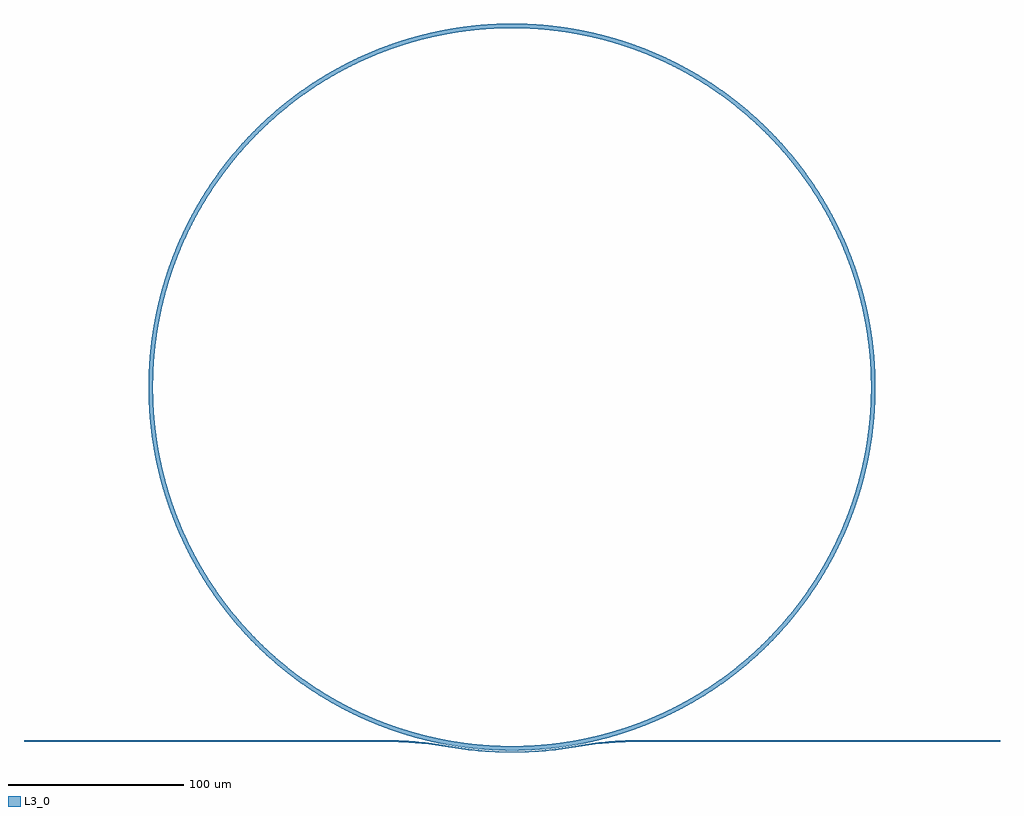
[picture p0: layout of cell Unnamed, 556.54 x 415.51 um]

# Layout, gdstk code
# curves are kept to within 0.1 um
from math import pi, radians
import gdstk
lib = gdstk.Library(unit=1e-6, precision=1e-10)
def P(c, l, *ps):  # polygons
    for p in ps: c.add(gdstk.Polygon(p, *l))
L3_0 = (3, 0)

ring = lib.new_cell('ring')
P(ring, L3_0, [(204.75,0),(204.5991,7.8599),(204.1737,15.3519),(203.474,22.8233),(202.501,30.264),(201.256,37.664),(199.7407,45.0135),(197.9571,52.3025),(195.9076,59.5213),(193.4783,66.9979),(190.8933,74.0426),(188.0519,80.9879),(184.9579,87.8245),(181.6155,94.543),(178.0291,101.1346),(174.2036,107.5903),(170.1441,113.9015),(165.856,120.0597),(161.3452,126.0567),(156.6177,131.8843),(151.4395,137.7993),(146.2883,143.2561),(140.9406,148.5204),(135.4036,153.5852),(129.6847,158.4438),(123.7917,163.0895),(117.7323,167.5162),(111.5148,171.7178),(105.1476,175.6888),(98.3258,179.5957),(91.6787,183.0781),(84.9084,186.3146),(78.0242,189.3008),(71.0351,192.0328),(63.9506,194.5068),(56.7802,196.7195),(49.1867,198.7542),(41.8706,200.4231),(34.4982,201.8228),(27.0795,202.9514),(19.6244,203.8074),(11.7862,204.4105),(4.288,204.7051),(-3.2161,204.7247),(-10.7158,204.4694),(-18.2011,203.9394),(-25.662,203.1355),(-33.441,202.0007),(-40.8206,200.6396),(-48.4926,198.9247),(-55.7494,197.0141),(-62.9313,194.839),(-70.0286,192.4021),(-77.0319,189.7067),(-83.9317,186.7566),(-90.7188,183.5556),(-97.3841,180.108),(-103.9185,176.4186),(-110.3133,172.4921),(-116.56,168.334),(-122.6501,163.9497),(-128.5754,159.3453),(-134.3281,154.5268),(-139.9003,149.5007),(-145.5362,144.0201),(-154.057,134.8667),(-162.003,125.2102),(-169.3447,115.0866),(-176.0548,104.5337),(-179.2514,98.9521),(-182.2711,93.2728),(-187.6253,81.9715),(-192.2795,70.3643),(-196.2165,58.4947),(-199.4216,46.4069),(-200.7809,40.12),(-201.942,33.7935),(-203.6284,21.4022),(-204.5551,8.9311),(-204.7188,-3.5734),(-204.1188,-16.0645),(-202.7574,-28.4957),(-200.6396,-40.8206),(-197.7733,-52.9932),(-194.1693,-64.9681),(-189.8409,-76.7007),(-187.338,-82.6259),(-184.6502,-88.4696),(-178.9049,-99.5772),(-172.4921,-110.3133),(-165.4359,-120.638),(-157.7626,-130.5126),(-149.5007,-139.9003),(-140.6812,-148.7662),(-135.9389,-153.1117),(-131.0625,-157.3061),(-121.2147,-165.0138),(-110.9148,-172.106),(-100.2011,-178.5562),(-89.1136,-184.3403),(-83.2793,-187.0484),(-77.3629,-189.572),(-65.6455,-193.9413),(-53.6832,-197.5871),(-41.5207,-200.4959),(-29.2033,-202.6567),(-16.7769,-204.0615),(-4.288,-204.7051),(8.217,-204.5851),(20.6913,-203.7018),(32.7357,-202.1162),(45.0135,-199.7407),(57.1234,-196.6201),(69.0203,-192.7661),(80.6596,-188.193),(91.9981,-182.9178),(102.9933,-176.9603),(113.6044,-170.3426),(123.5068,-163.3053),(132.9745,-155.6931),(142.2313,-147.2848),(150.7159,-138.5904),(158.8955,-129.1309),(166.2741,-119.4801),(173.2581,-109.1064),(179.4238,-98.6391),(184.6502,-88.4696),(189.4367,-77.6936),(193.4783,-66.9979),(197.0141,-55.7494),(198.8397,-48.8397),(200.4231,-41.8706),(201.7623,-34.8504),(202.8068,-28.1418),(203.6654,-21.0468),(204.2759,-13.9261),(204.6253,-7.1457),(204.75,0),(207.25,0),(207.0026,-10.1241),(206.2609,-20.2241),(205.0267,-30.2757),(203.303,-40.2551),(201.0938,-50.1383),(198.4045,-59.9018),(195.1198,-69.863),(191.474,-79.3111),(187.3711,-88.5699),(182.8208,-97.6172),(177.834,-106.4314),(172.4225,-114.9915),(166.5993,-123.277),(160.3784,-131.2682),(153.5318,-139.2141),(146.5479,-146.5479),(139.2141,-153.5318),(131.2682,-160.3784),(123.277,-166.5993),(114.9915,-172.4225),(106.4314,-177.834),(97.6172,-182.8208),(88.5699,-187.3711),(79.3111,-191.474),(69.863,-195.1198),(59.9018,-198.4045),(50.1383,-201.0938),(40.2551,-203.303),(30.2757,-205.0267),(20.2241,-206.2609),(10.1241,-207.0026),(0,-207.25),(-10.1241,-207.0026),(-20.2241,-206.2609),(-30.2757,-205.0267),(-40.2551,-203.303),(-50.1383,-201.0938),(-59.9018,-198.4045),(-69.863,-195.1198),(-79.3111,-191.474),(-88.5699,-187.3711),(-97.6172,-182.8208),(-106.4314,-177.834),(-114.9915,-172.4225),(-123.277,-166.5993),(-131.2682,-160.3784),(-139.2141,-153.5318),(-146.5479,-146.5479),(-153.5318,-139.2141),(-160.3784,-131.2682),(-166.5993,-123.277),(-172.4225,-114.9915),(-177.834,-106.4314),(-182.8208,-97.6172),(-187.3711,-88.5699),(-191.474,-79.3111),(-195.1198,-69.863),(-198.4045,-59.9018),(-201.0938,-50.1383),(-203.303,-40.2551),(-205.0267,-30.2757),(-206.2609,-20.2241),(-207.0026,-10.1241),(-207.25,0),(-207.0026,10.1241),(-206.2609,20.2241),(-205.0267,30.2757),(-203.303,40.2551),(-201.0938,50.1383),(-198.4045,59.9018),(-195.1198,69.863),(-191.474,79.3111),(-187.3711,88.5699),(-182.8208,97.6172),(-177.834,106.4314),(-172.4225,114.9915),(-166.5993,123.277),(-160.3784,131.2682),(-153.5318,139.2141),(-146.5479,146.5479),(-139.2141,153.5318),(-131.2682,160.3784),(-123.277,166.5993),(-114.9915,172.4225),(-106.4314,177.834),(-97.6172,182.8208),(-88.5699,187.3711),(-79.3111,191.474),(-69.863,195.1198),(-59.9018,198.4045),(-50.1383,201.0938),(-40.2551,203.303),(-30.2757,205.0267),(-20.2241,206.2609),(-10.1241,207.0026),(0,207.25),(10.1241,207.0026),(20.584,206.2253),(30.6335,204.9735),(40.6098,203.2324),(50.4892,201.006),(60.594,198.1942),(70.2034,194.9975),(79.6452,191.3353),(89.2234,187.0608),(98.2548,182.4789),(107.0515,177.4614),(115.5927,172.02),(124.1476,165.9516),(132.1061,159.6889),(139.7492,153.0449),(147.3132,145.7786),(154.4999,138.1389),(161.2909,130.1453),(167.6688,121.8185),(173.6172,113.1796),(179.121,104.2509),(184.1659,95.0551),(188.7392,85.6159),(192.829,75.9574),(196.6546,65.4183),(199.9997,54.3387),(202.6456,43.4434),(204.7547,32.0637),(205.8765,23.8207),(206.6392,15.9),(207.0972,7.9559),(207.25,0)])

extrude = lib.new_cell('extrude')
P(extrude, L3_0, [(0,-0.15),(9.5651,-0.0092),(19.1173,0.5708),(26.7362,1.3505),(36.2143,2.7183),(36.058,3.6047),(28.5301,2.3555),(19.0608,1.184),(9.5441,0.4482),(0,0.15)])

extrude002 = lib.new_cell('extrude002')
P(extrude002, L3_0, [(0,-0.45),(9.5753,-0.2301),(17.2219,0.2623),(26.7463,1.2722),(36.2143,2.7183),(36.058,3.6047),(26.6309,2.1648),(17.1476,1.1592),(9.534,0.669),(0,0.45)])

extrude003 = lib.new_cell('extrude003')
P(extrude003, L3_0, [(0,-0.45),(2.0808,-0.45),(4.1616,-0.45),(6.2424,-0.45),(8.3232,-0.45),(10.404,-0.45),(12.4848,-0.45),(14.5657,-0.45),(16.6465,-0.45),(18.7273,-0.45),(20.8081,-0.45),(22.8889,-0.45),(24.9697,-0.45),(27.0505,-0.45),(29.1313,-0.45),(31.2121,-0.45),(33.2929,-0.45),(35.3737,-0.45),(37.4545,-0.45),(39.5354,-0.45),(41.6162,-0.45),(43.697,-0.45),(45.7778,-0.45),(47.8586,-0.45),(49.9394,-0.45),(52.0202,-0.45),(54.101,-0.45),(56.1818,-0.45),(58.2626,-0.45),(60.3434,-0.45),(62.4242,-0.45),(64.5051,-0.45),(66.5859,-0.45),(68.6667,-0.45),(70.7475,-0.45),(72.8283,-0.45),(74.9091,-0.45),(76.9899,-0.45),(79.0707,-0.45),(81.1515,-0.45),(83.2323,-0.45),(85.3131,-0.45),(87.3939,-0.45),(89.4747,-0.45),(91.5556,-0.45),(93.6364,-0.45),(95.7172,-0.45),(97.798,-0.45),(99.8788,-0.45),(101.9596,-0.45),(104.0404,-0.45),(106.1212,-0.45),(108.202,-0.45),(110.2828,-0.45),(112.3636,-0.45),(114.4444,-0.45),(116.5253,-0.45),(118.6061,-0.45),(120.6869,-0.45),(122.7677,-0.45),(124.8485,-0.45),(126.9293,-0.45),(129.0101,-0.45),(131.0909,-0.45),(133.1717,-0.45),(135.2525,-0.45),(137.3333,-0.45),(139.4141,-0.45),(141.4949,-0.45),(143.5758,-0.45),(145.6566,-0.45),(147.7374,-0.45),(149.8182,-0.45),(151.899,-0.45),(153.9798,-0.45),(156.0606,-0.45),(158.1414,-0.45),(160.2222,-0.45),(162.303,-0.45),(164.3838,-0.45),(166.4646,-0.45),(168.5455,-0.45),(170.6263,-0.45),(172.7071,-0.45),(174.7879,-0.45),(176.8687,-0.45),(178.9495,-0.45),(181.0303,-0.45),(183.1111,-0.45),(185.1919,-0.45),(187.2727,-0.45),(189.3535,-0.45),(191.4343,-0.45),(193.5152,-0.45),(195.596,-0.45),(197.6768,-0.45),(199.7576,-0.45),(201.8384,-0.45),(203.9192,-0.45),(206,-0.45),(206,0.45),(203.9192,0.45),(201.8384,0.45),(199.7576,0.45),(197.6768,0.45),(195.596,0.45),(193.5152,0.45),(191.4343,0.45),(189.3535,0.45),(187.2727,0.45),(185.1919,0.45),(183.1111,0.45),(181.0303,0.45),(178.9495,0.45),(176.8687,0.45),(174.7879,0.45),(172.7071,0.45),(170.6263,0.45),(168.5455,0.45),(166.4646,0.45),(164.3838,0.45),(162.303,0.45),(160.2222,0.45),(158.1414,0.45),(156.0606,0.45),(153.9798,0.45),(151.899,0.45),(149.8182,0.45),(147.7374,0.45),(145.6566,0.45),(143.5758,0.45),(141.4949,0.45),(139.4141,0.45),(137.3333,0.45),(135.2525,0.45),(133.1717,0.45),(131.0909,0.45),(129.0101,0.45),(126.9293,0.45),(124.8485,0.45),(122.7677,0.45),(120.6869,0.45),(118.6061,0.45),(116.5253,0.45),(114.4444,0.45),(112.3636,0.45),(110.2828,0.45),(108.202,0.45),(106.1212,0.45),(104.0404,0.45),(101.9596,0.45),(99.8788,0.45),(97.798,0.45),(95.7172,0.45),(93.6364,0.45),(91.5556,0.45),(89.4747,0.45),(87.3939,0.45),(85.3131,0.45),(83.2323,0.45),(81.1515,0.45),(79.0707,0.45),(76.9899,0.45),(74.9091,0.45),(72.8283,0.45),(70.7475,0.45),(68.6667,0.45),(66.5859,0.45),(64.5051,0.45),(62.4242,0.45),(60.3434,0.45),(58.2626,0.45),(56.1818,0.45),(54.101,0.45),(52.0202,0.45),(49.9394,0.45),(47.8586,0.45),(45.7778,0.45),(43.697,0.45),(41.6162,0.45),(39.5354,0.45),(37.4545,0.45),(35.3737,0.45),(33.2929,0.45),(31.2121,0.45),(29.1313,0.45),(27.0505,0.45),(24.9697,0.45),(22.8889,0.45),(20.8081,0.45),(18.7273,0.45),(16.6465,0.45),(14.5657,0.45),(12.4848,0.45),(10.404,0.45),(8.3232,0.45),(6.2424,0.45),(4.1616,0.45),(2.0808,0.45),(0,0.45)])

extrude004 = lib.new_cell('extrude004')
P(extrude004, L3_0, [(0,-0.45),(9.5717,-0.1512),(17.2102,0.4039),(26.718,1.4914),(36.1622,3.0138),(36.1101,3.3092),(26.6593,1.9455),(17.1593,1.0176),(7.6304,0.527),(0,0.45)])

extrude005 = lib.new_cell('extrude005')
P(extrude005, L3_0, [(0,-0.45),(9.5753,-0.2301),(17.2219,0.2623),(26.7463,1.2722),(36.2143,2.7183),(36.058,3.6047),(26.6309,2.1648),(17.1476,1.1592),(9.534,0.669),(0,0.45)])

extrude006 = lib.new_cell('extrude006')
P(extrude006, L3_0, [(0,-0.45),(2.0808,-0.45),(4.1616,-0.45),(6.2424,-0.45),(8.3232,-0.45),(10.404,-0.45),(12.4848,-0.45),(14.5657,-0.45),(16.6465,-0.45),(18.7273,-0.45),(20.8081,-0.45),(22.8889,-0.45),(24.9697,-0.45),(27.0505,-0.45),(29.1313,-0.45),(31.2121,-0.45),(33.2929,-0.45),(35.3737,-0.45),(37.4545,-0.45),(39.5354,-0.45),(41.6162,-0.45),(43.697,-0.45),(45.7778,-0.45),(47.8586,-0.45),(49.9394,-0.45),(52.0202,-0.45),(54.101,-0.45),(56.1818,-0.45),(58.2626,-0.45),(60.3434,-0.45),(62.4242,-0.45),(64.5051,-0.45),(66.5859,-0.45),(68.6667,-0.45),(70.7475,-0.45),(72.8283,-0.45),(74.9091,-0.45),(76.9899,-0.45),(79.0707,-0.45),(81.1515,-0.45),(83.2323,-0.45),(85.3131,-0.45),(87.3939,-0.45),(89.4747,-0.45),(91.5556,-0.45),(93.6364,-0.45),(95.7172,-0.45),(97.798,-0.45),(99.8788,-0.45),(101.9596,-0.45),(104.0404,-0.45),(106.1212,-0.45),(108.202,-0.45),(110.2828,-0.45),(112.3636,-0.45),(114.4444,-0.45),(116.5253,-0.45),(118.6061,-0.45),(120.6869,-0.45),(122.7677,-0.45),(124.8485,-0.45),(126.9293,-0.45),(129.0101,-0.45),(131.0909,-0.45),(133.1717,-0.45),(135.2525,-0.45),(137.3333,-0.45),(139.4141,-0.45),(141.4949,-0.45),(143.5758,-0.45),(145.6566,-0.45),(147.7374,-0.45),(149.8182,-0.45),(151.899,-0.45),(153.9798,-0.45),(156.0606,-0.45),(158.1414,-0.45),(160.2222,-0.45),(162.303,-0.45),(164.3838,-0.45),(166.4646,-0.45),(168.5455,-0.45),(170.6263,-0.45),(172.7071,-0.45),(174.7879,-0.45),(176.8687,-0.45),(178.9495,-0.45),(181.0303,-0.45),(183.1111,-0.45),(185.1919,-0.45),(187.2727,-0.45),(189.3535,-0.45),(191.4343,-0.45),(193.5152,-0.45),(195.596,-0.45),(197.6768,-0.45),(199.7576,-0.45),(201.8384,-0.45),(203.9192,-0.45),(206,-0.45),(206,0.45),(203.9192,0.45),(201.8384,0.45),(199.7576,0.45),(197.6768,0.45),(195.596,0.45),(193.5152,0.45),(191.4343,0.45),(189.3535,0.45),(187.2727,0.45),(185.1919,0.45),(183.1111,0.45),(181.0303,0.45),(178.9495,0.45),(176.8687,0.45),(174.7879,0.45),(172.7071,0.45),(170.6263,0.45),(168.5455,0.45),(166.4646,0.45),(164.3838,0.45),(162.303,0.45),(160.2222,0.45),(158.1414,0.45),(156.0606,0.45),(153.9798,0.45),(151.899,0.45),(149.8182,0.45),(147.7374,0.45),(145.6566,0.45),(143.5758,0.45),(141.4949,0.45),(139.4141,0.45),(137.3333,0.45),(135.2525,0.45),(133.1717,0.45),(131.0909,0.45),(129.0101,0.45),(126.9293,0.45),(124.8485,0.45),(122.7677,0.45),(120.6869,0.45),(118.6061,0.45),(116.5253,0.45),(114.4444,0.45),(112.3636,0.45),(110.2828,0.45),(108.202,0.45),(106.1212,0.45),(104.0404,0.45),(101.9596,0.45),(99.8788,0.45),(97.798,0.45),(95.7172,0.45),(93.6364,0.45),(91.5556,0.45),(89.4747,0.45),(87.3939,0.45),(85.3131,0.45),(83.2323,0.45),(81.1515,0.45),(79.0707,0.45),(76.9899,0.45),(74.9091,0.45),(72.8283,0.45),(70.7475,0.45),(68.6667,0.45),(66.5859,0.45),(64.5051,0.45),(62.4242,0.45),(60.3434,0.45),(58.2626,0.45),(56.1818,0.45),(54.101,0.45),(52.0202,0.45),(49.9394,0.45),(47.8586,0.45),(45.7778,0.45),(43.697,0.45),(41.6162,0.45),(39.5354,0.45),(37.4545,0.45),(35.3737,0.45),(33.2929,0.45),(31.2121,0.45),(29.1313,0.45),(27.0505,0.45),(24.9697,0.45),(22.8889,0.45),(20.8081,0.45),(18.7273,0.45),(16.6465,0.45),(14.5657,0.45),(12.4848,0.45),(10.404,0.45),(8.3232,0.45),(6.2424,0.45),(4.1616,0.45),(2.0808,0.45),(0,0.45)])

unnamed = lib.new_cell('Unnamed')
unnamed.add(gdstk.Reference(ring, (0,0)))
unnamed.add(gdstk.Reference(extrude, (0,-208.1)))
unnamed.add(gdstk.Reference(extrude002, (72.2724,-201.777), rotation=pi))
unnamed.add(gdstk.Reference(extrude003, (72.2724,-201.777)))
unnamed.add(gdstk.Reference(extrude004, (-36.1362,-204.9385), rotation=radians(350)))
unnamed.add(gdstk.Reference(extrude005, (-36.1362,-204.9385), rotation=radians(170)))
unnamed.add(gdstk.Reference(extrude006, (-72.2724,-201.777), rotation=pi))

lib.write_gds('Unnamed.gds')
